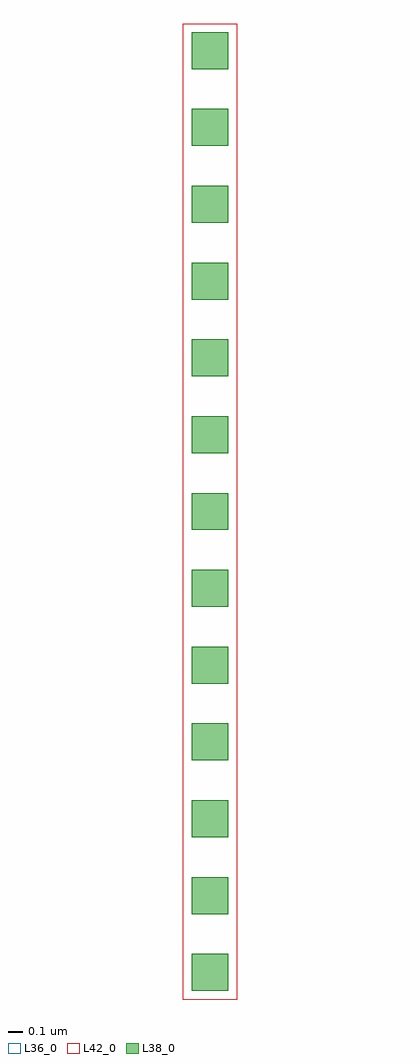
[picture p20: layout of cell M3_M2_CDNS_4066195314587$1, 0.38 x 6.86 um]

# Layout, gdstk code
import gdstk
lib = gdstk.Library(unit=1e-6, precision=1e-09)
def R(c, l, rs):  # rectangles x0, y0, x1, y1
    for r in rs: c.add(gdstk.rectangle(r[:2], r[2:], *l))
def A(c, l, x, y, w, h, nx, ny, dx, dy):  # array of equal rectangles
    R(c, l, [(x+i*dx, y+j*dy, x+i*dx+w, y+j*dy+h) for i in range(nx) for j in range(ny)])
L36_0 = (36, 0)
L38_0 = (38, 0)
L42_0 = (42, 0)

m3_m2_cdns_4066195314587 = lib.new_cell('M3_M2_CDNS_4066195314587$1')
R(m3_m2_cdns_4066195314587, L36_0, [(-0.19,-3.43,0.19,3.43)])
A(m3_m2_cdns_4066195314587, L38_0, -0.13, -3.37, 0.26, 0.26, 1, 13, 0, 0.54)
R(m3_m2_cdns_4066195314587, L42_0, [(-0.19,-3.43,0.19,3.43)])

lib.write_gds('M3_M2_CDNS_4066195314587_1.gds')
